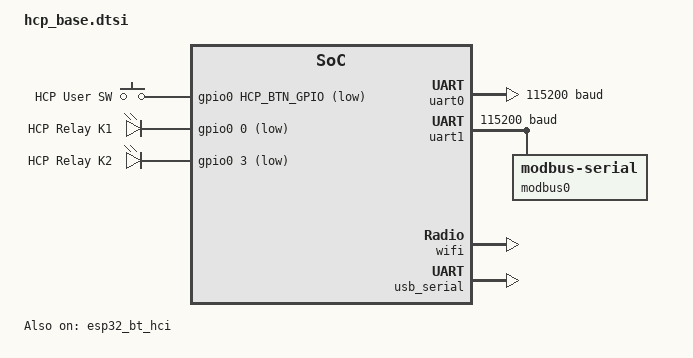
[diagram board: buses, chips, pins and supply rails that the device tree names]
/*
 * HCP shared board skeleton (all Helios custom boards).
 *
 * The including board .dts MUST, before this file:
 *   - include its Espressif module dtsi, the partitions dtsi, and its
 *     `<board>-pinctrl.dtsi` (which defines uart0_default + uart1_default),
 *   - define the macros HCP_SRAM (label: sramhp|sram1) and HCP_BTN_GPIO
 *     (the button's GPIO number).
 *
 * Copyright (c) 2026 maybetaken
 *
 * SPDX-License-Identifier: Apache-2.0
 */

#include <zephyr/dt-bindings/gpio/gpio.h>
#include <zephyr/dt-bindings/input/input-event-codes.h>

/* Console node. The RISC-V parts (C3/C5/C6) have a native USB-Serial-JTAG CDC; the
 * classic dual-core ESP32 does not, so it defines HCP_CONSOLE as a UART and
 * HCP_NO_USB_SERIAL to skip the usb_serial node entirely. */
#ifndef HCP_CONSOLE
#define HCP_CONSOLE usb_serial
#endif

/ {
	chosen {
		zephyr,sram = &HCP_SRAM;
		zephyr,console = &HCP_CONSOLE;
		zephyr,shell-uart = &HCP_CONSOLE;
		zephyr,flash = &flash0;
		zephyr,code-partition = &slot0_partition;
		/* Persistent KV (hcp::storage -> settings -> NVS) uses the 192 KB
		 * "storage" slot of Espressif's default partition table, so provisioned
		 * Wi-Fi credentials survive a power cycle without a new partition per board. */
		zephyr,storage = &storage_partition;
	};

	aliases {
		sw0 = &hcp_button;
		hcp-uart = &uart1;
		hcp-k1 = &relay_k1;
		hcp-k2 = &relay_k2;
		/* Watchdog the trial-image deadline is set on (hcp::kernel) and the one
		 * MCUboot's watchdog code looks for by the same name. The alias is here so
		 * both sides agree; the node itself is only enabled on the boards that boot
		 * through MCUboot - where it stays "disabled", ArmWatchdog() has nothing to
		 * arm and the update path behaves as it did before. */
		watchdog0 = &wdt0;
	};

	gpio_keys {
		compatible = "gpio-keys";
		hcp_button: button_0 {
			label = "HCP User SW";
			gpios = <&gpio0 HCP_BTN_GPIO (GPIO_PULL_UP | GPIO_ACTIVE_LOW)>;
			zephyr,code = <INPUT_KEY_0>;
		};
	};

	/* Relay outputs K1/K2 (same pins across chips, active-low per the original
	 * firmware). Held as gpio-leds so the gpios property parses; hcp::switchctl
	 * drives them via gpio_dt_spec (logical 1 = assert = physical low). */
	relays {
		compatible = "gpio-leds";
		relay_k1: relay_0 {
			label = "HCP Relay K1";
			gpios = <&gpio0 0 GPIO_ACTIVE_LOW>;
		};
		relay_k2: relay_1 {
			label = "HCP Relay K2";
			gpios = <&gpio0 3 GPIO_ACTIVE_LOW>;
		};
	};
};

&uart0 {
	status = "okay";
	current-speed = <115200>;
	pinctrl-0 = <&uart0_default>;
	pinctrl-names = "default";
};

/* Modbus UART (UART1). Default TTL pins; RS485 variant overlay re-pins + DE. */
&uart1 {
	status = "okay";
	current-speed = <115200>;
	pinctrl-0 = <&uart1_default>;
	pinctrl-names = "default";

	/* hcp::modbus rides Zephyr's own Modbus RTU client (subsys/modbus) on this
	 * UART. The subsys owns the RTU framing, the t3.5 inter-frame timing and -
	 * through de-gpios, set by the RS485 variant overlay - the direction line of
	 * the external transceiver. The client looks the interface up by this node's
	 * name, so renaming it means updating hcp::modbus to match. */
	modbus0: modbus0 {
		compatible = "zephyr,modbus-serial";
		status = "okay";
	};
};

&gpio0 {
	status = "okay";
};

/* Wi-Fi is physically present on all Espressif Helios boards; the node is
 * always enabled here, and the networking stack / driver is pulled in only
 * when CONFIG_HCP_NET (see lib/net) selects CONFIG_WIFI. */
&wifi {
	status = "okay";
};

/* ESP32 Bluetooth controller (HCI) — needed for BLE/BluFi. Disabled by default
 * in the SoC dtsi; the stock devkitc enables it the same way. */
&esp32_bt_hci {
	status = "okay";
};

/* Console via native USB-Serial-JTAG (CDC-ACM) -> /dev/cu.usbmodem* on host.
 * Absent on the classic ESP32, which defines HCP_NO_USB_SERIAL. */
#ifndef HCP_NO_USB_SERIAL
&usb_serial {
	status = "okay";
};
#endif
